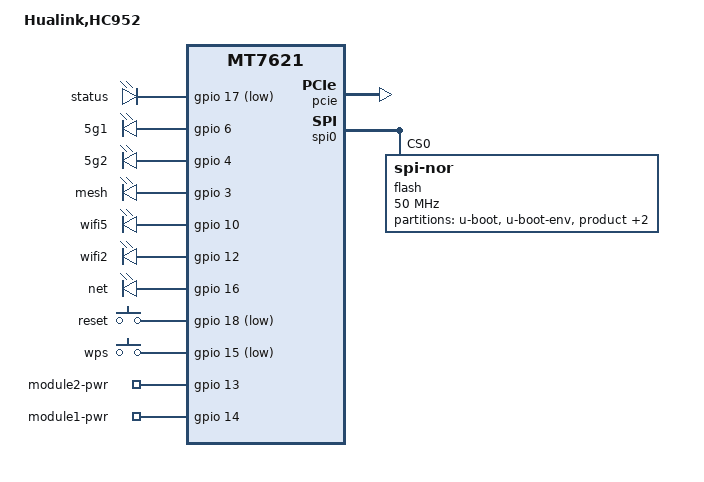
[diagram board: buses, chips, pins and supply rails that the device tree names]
// SPDX-License-Identifier: GPL-2.0-or-later OR MIT

#include "mt7621.dtsi"

#include <dt-bindings/gpio/gpio.h>
#include <dt-bindings/input/input.h>

/ {
	compatible = "hualink,hc952", "mediatek,mt7621-soc";
	model = "Hualink,HC952";

	aliases {
		led-boot = &led_status;
		led-failsafe = &led_status;
		led-running = &led_status;
		led-upgrade = &led_status;
		label-mac-device = &wan_port;
	};

	chosen {
		bootargs = "console=ttyS0,115200";
		bootargs-override = "console=ttyS0,115200";
	};

	leds {
		compatible = "gpio-leds";

		led_status: status {
			label = "status";
			gpios = <&gpio 17 GPIO_ACTIVE_LOW>;
		};

		5g1 {
			label = "5g1";
			gpios = <&gpio 6 GPIO_ACTIVE_HIGH>;
		};
		
		5g2 {
			label = "5g2";
			gpios = <&gpio 4 GPIO_ACTIVE_HIGH>;
		};
		
		mesh {
			label = "mesh";
			gpios = <&gpio 3 GPIO_ACTIVE_HIGH>;
		};
		
		wifi5 {
			label = "wifi5";
			gpios = <&gpio 10 GPIO_ACTIVE_HIGH>;
		};

		wifi2 {
			label = "wifi2";
			gpios = <&gpio 12 GPIO_ACTIVE_HIGH>;
		};
		
		net {
			label = "net";
			gpios = <&gpio 16 GPIO_ACTIVE_HIGH>;
		};

	};

	keys {
		compatible = "gpio-keys";

		reset {
			label = "reset";
			gpios = <&gpio 18 GPIO_ACTIVE_LOW>;
			linux,code = <KEY_RESTART>;
		};

		wps {
			label = "wps";
			gpios = <&gpio 15 GPIO_ACTIVE_LOW>;
			linux,code = <BTN_1>;
		};
	};

	gpio-export {
		compatible = "gpio-export";
 
		module2-pwr {
			gpio-export,output = <1>;
			gpios = <&gpio 13 GPIO_ACTIVE_HIGH>;
		};
		
		module1-pwr {
			gpio-export,output = <1>;
			gpios = <&gpio 14 GPIO_ACTIVE_HIGH>;
		};
	};

};

&pcie {
	status = "okay";
};

&pcie0 {
	wifi@0,0 {
		reg = <0x0 0 0 0 0>;
		mediatek,mtd-eeprom = <&factory 0x0>;
		mtd-mac-address = <&factory 0x00004>;
		mtd-mac-address-increment = <1>;
	};
};

&pcie1 {
	wifi@0,0 {
		reg = <0x0 0 0 0 0>;
		mediatek,mtd-eeprom = <&factory 0x0>;
		mtd-mac-address = <&factory 0x00004>;
		mtd-mac-address-increment = <1>;
	};
};

&gmac0 {
	nvmem-cells = <&macaddr_factory_4>;
	nvmem-cell-names = "mac-address";
};

&switch0 {
	ports {
		wan_port: port@4 {
			status = "okay";
			label = "wan";
			mtd-mac-address = <&factory 0x04>;
			mtd-mac-address-increment = <1>;
		};

		port@1 {
			status = "okay";
			label = "lan1";
		};

		port@2 {
			status = "okay";
			label = "lan2";
		};

		port@3 {
			status = "okay";
			label = "lan3";
		};
	};
};

&spi0 {
	status = "okay";

	flash@0 {
		compatible = "jedec,spi-nor";
		reg = <0>;
		spi-max-frequency = <50000000>;

		partitions {
			compatible = "fixed-partitions";
			#address-cells = <1>;
			#size-cells = <1>;

			partition@0 {
				label = "u-boot";
				reg = <0x0 0x30000>;
				read-only;
			};

			partition@30000 {
				label = "u-boot-env";
				reg = <0x30000 0x10000>;
				read-only;
			};

			partition@40000 {
				label = "product";
				reg = <0x40000 0x10000>;
				read-only;
			};

			factory: partition@50000 {
				label = "factory";
				reg = <0x50000 0x40000>;
				read-only;
			};

			firmware: partition@90000 {
				compatible = "denx,fit";
				label = "firmware";
			};
		};
	};
};

&state_default {
	gpio {
		groups = "rgmii2", "jtag", "wdt", "i2c";
		function = "gpio";
	};
};

&factory {
	compatible = "nvmem-cells";
	#address-cells = <1>;
	#size-cells = <1>;

	macaddr_factory_4: macaddr@4 {
		reg = <0x4 0x6>;
	};
};
